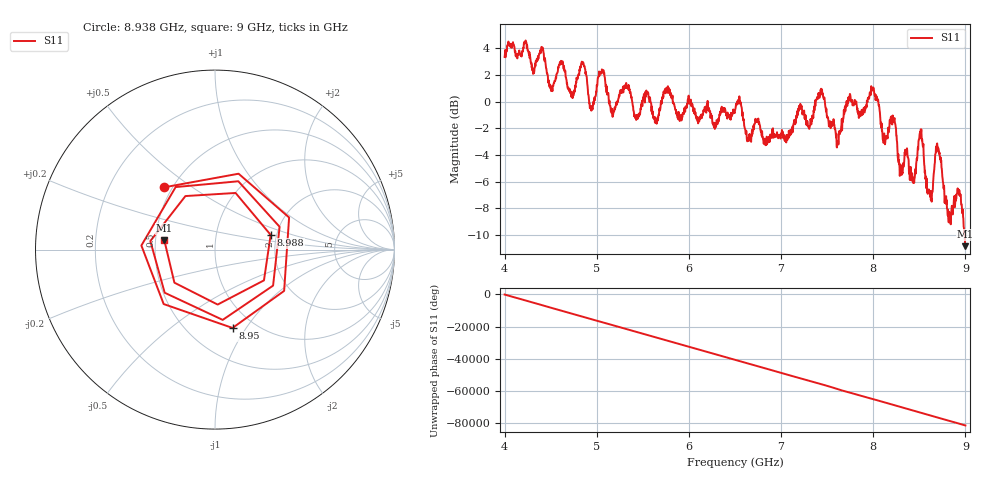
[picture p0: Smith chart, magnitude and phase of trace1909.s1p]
! Created with skrf 1.8.0 (http://scikit-rf.org).
# Hz S RI R 50.0
!freq ReS11 ImS11
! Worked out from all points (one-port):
!   1601 points, 4 GHz to 9 GHz, reference 50 ohm
!   lowest |S11| = -10.8 dB at 9 GHz (marker M1), VSWR 1.80, Z = 27.9 + j3.13 ohm
!   |S11| at or under -10 dB: 8.992125 GHz to end of sweep
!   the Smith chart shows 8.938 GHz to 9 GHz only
!   S11 on the Smith chart (normalised r, x): 8.938 GHz: 0.45, +0.39; 8.95 GHz: 0.80, -0.87; 8.988 GHz: 1.86, +0.34; 9 GHz: 0.56, +0.06
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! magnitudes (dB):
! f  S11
! 4 GHz  3.4
! 4.625 GHz  2.9
! 4.728 GHz  0.7
! 4.856 GHz  2.9
! 4.941 GHz  -0.7
! 5.05 GHz  2.1
! 5.166 GHz  -0.5
! 5.25 GHz  0.7
! 5.875 GHz  -0.9
! 6.5 GHz  -0.7
! 6.653 GHz  -2.9
! 7.125 GHz  -1.9
! 7.431 GHz  0.8
! 7.619 GHz  -2.9
! 7.75 GHz  0.5
! 8 GHz  1.0
! 8.119 GHz  -2.4
! 8.216 GHz  -1.3
! 8.375 GHz  -4.1
! 8.438 GHz  -5.8
! 8.519 GHz  -2.3
! 8.609 GHz  -6.8
! 8.697 GHz  -3.4
! 8.819 GHz  -9.1
! 8.938 GHz  -7.0
! 8.95 GHz  -7.0
! 8.988 GHz  -9.9
! 9 GHz  -10.8
